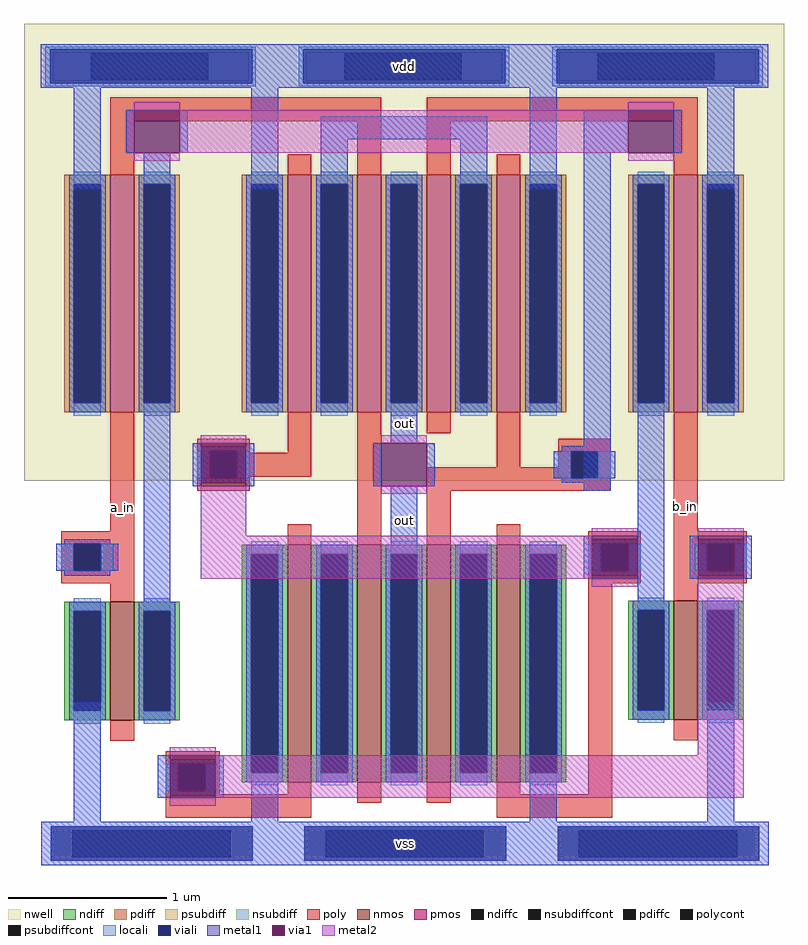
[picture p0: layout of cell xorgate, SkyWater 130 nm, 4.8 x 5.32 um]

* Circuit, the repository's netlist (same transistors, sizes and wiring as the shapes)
* Extracted by KLayout with SG13G2 LVS runset on : 31/03/2026 01:34

.SUBCKT xorgate
M$1 \$1 \$6 \$3 \$1 sg13_lv_nmos L=0.15u W=1.5u AS=0.51p AD=0.285p PS=3.68u
+ PD=1.88u
M$2 \$3 \$7 \$4 \$1 sg13_lv_nmos L=0.15u W=1.5u AS=0.285p AD=0.51p PS=1.88u
+ PD=3.68u
M$3 \$1 \$2 \$5 \$1 sg13_lv_nmos L=0.15u W=1.5u AS=0.51p AD=0.285p PS=3.68u
+ PD=1.88u
M$4 \$5 \$12 \$4 \$1 sg13_lv_nmos L=0.15u W=1.5u AS=0.285p AD=0.51p PS=1.88u
+ PD=3.68u
M$5 \$1 \$2 \$6 \$1 sg13_lv_nmos L=0.15u W=0.75u AS=0.255p AD=0.255p PS=2.18u
+ PD=2.18u
M$6 \$1 \$12 \$7 \$1 sg13_lv_nmos L=0.15u W=0.75u AS=0.255p AD=0.255p PS=2.18u
+ PD=2.18u
M$7 \$16 \$2 \$6 \$16 sg13_lv_pmos L=0.15u W=1.5u AS=0.51p AD=0.51p PS=3.68u
+ PD=3.68u
M$8 \$16 \$12 \$7 \$16 sg13_lv_pmos L=0.15u W=1.5u AS=0.51p AD=0.51p PS=3.68u
+ PD=3.68u
M$9 \$16 \$6 \$13 \$16 sg13_lv_pmos L=0.15u W=1.5u AS=0.51p AD=0.285p PS=3.68u
+ PD=1.88u
M$10 \$13 \$7 \$16 \$16 sg13_lv_pmos L=0.15u W=1.5u AS=0.285p AD=0.51p PS=1.88u
+ PD=3.68u
M$11 \$13 \$2 \$4 \$16 sg13_lv_pmos L=0.15u W=1.5u AS=0.51p AD=0.285p PS=3.68u
+ PD=1.88u
M$12 \$4 \$12 \$13 \$16 sg13_lv_pmos L=0.15u W=1.5u AS=0.285p AD=0.51p PS=1.88u
+ PD=3.68u
.ENDS xorgate

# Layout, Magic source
magic
tech sky130A
magscale 1 2
<< poly >>
rect 109 940 451 970
rect 109 872 139 940
rect 421 872 451 940
rect 509 940 851 970
rect 509 873 539 940
rect 821 872 851 940
rect 109 422 139 572
rect 219 521 285 539
rect 333 521 363 572
rect 219 491 363 521
rect 219 473 285 491
rect 47 356 139 422
rect 421 405 451 572
rect 597 503 627 572
rect 675 503 741 539
rect 509 473 741 503
rect 509 405 539 473
rect 821 422 851 572
rect 109 333 139 356
rect 713 356 779 422
rect 821 356 913 422
rect 179 90 247 144
rect 333 90 363 105
rect 179 60 363 90
rect 597 90 627 105
rect 713 90 743 356
rect 821 334 851 356
rect 597 60 743 90
<< metal1 >>
rect 21 982 940 1037
rect 63 854 97 982
rect 129 900 139 954
rect 197 900 207 954
rect 151 860 185 900
rect 287 854 321 982
rect 375 917 585 946
rect 375 860 409 917
rect 551 860 585 917
rect 639 854 673 982
rect 707 900 763 954
rect 821 900 831 954
rect 151 331 185 578
rect 463 533 497 573
rect 213 479 223 533
rect 281 479 291 533
rect 441 479 451 533
rect 509 479 519 533
rect 463 393 497 479
rect 707 473 741 900
rect 863 854 897 982
rect 707 362 717 416
rect 775 332 809 578
rect 841 362 851 416
rect 909 362 919 416
rect 63 55 97 206
rect 169 85 184 139
rect 242 85 252 139
rect 287 55 321 110
rect 639 55 673 110
rect 863 55 897 206
rect 22 0 941 55
<< via1 >>
rect 139 900 197 954
rect 763 900 821 954
rect 223 479 281 533
rect 451 479 509 533
rect 717 362 775 416
rect 851 362 909 416
rect 184 85 242 139
<< metal2 >>
rect 139 954 197 964
rect 763 954 821 964
rect 197 900 763 954
rect 139 890 197 900
rect 763 890 821 900
rect 223 533 281 543
rect 223 416 281 479
rect 451 533 509 543
rect 451 469 509 479
rect 717 416 775 426
rect 223 362 717 416
rect 717 352 775 362
rect 851 416 909 426
rect 184 139 242 149
rect 851 139 909 362
rect 242 85 909 139
rect 184 75 242 85
use grid  grid_0
transform 1 0 61 0 1 10
box -61 -10 259 1053
use grid  grid_1
transform 1 0 381 0 1 10
box -61 -10 259 1053
use grid  grid_2
transform 1 0 701 0 1 10
box -61 -10 259 1053
use sky130_fd_pr__nfet_01v8_KRUHEH  sky130_fd_pr__nfet_01v8_KRUHEH_0
transform 1 0 124 0 1 258
box -73 -101 73 101
use sky130_fd_pr__nfet_01v8_KRUHEH  sky130_fd_pr__nfet_01v8_KRUHEH_1
transform 1 0 836 0 1 259
box -73 -101 73 101
use sky130_fd_pr__nfet_01v8_VKD229  sky130_fd_pr__nfet_01v8_VKD229_0
transform 1 0 524 0 1 255
box -73 -176 73 176
use sky130_fd_pr__nfet_01v8_VKD229  sky130_fd_pr__nfet_01v8_VKD229_1
transform 1 0 348 0 1 255
box -73 -176 73 176
use sky130_fd_pr__nfet_01v8_VKD229  sky130_fd_pr__nfet_01v8_VKD229_2
transform 1 0 436 0 1 255
box -73 -176 73 176
use sky130_fd_pr__nfet_01v8_VKD229  sky130_fd_pr__nfet_01v8_VKD229_3
transform 1 0 612 0 1 255
box -73 -176 73 176
use sky130_fd_pr__pfet_01v8_MDJ67A  sky130_fd_pr__pfet_01v8_MDJ67A_0
transform 1 0 348 0 1 722
box -109 -212 109 212
use sky130_fd_pr__pfet_01v8_MDJ67A  sky130_fd_pr__pfet_01v8_MDJ67A_1
transform 1 0 436 0 1 722
box -109 -212 109 212
use sky130_fd_pr__pfet_01v8_MDJ67A  sky130_fd_pr__pfet_01v8_MDJ67A_2
transform 1 0 524 0 1 722
box -109 -212 109 212
use sky130_fd_pr__pfet_01v8_MDJ67A  sky130_fd_pr__pfet_01v8_MDJ67A_3
transform 1 0 612 0 1 722
box -109 -212 109 212
use sky130_fd_pr__pfet_01v8_MDJ67A  sky130_fd_pr__pfet_01v8_MDJ67A_4
transform 1 0 124 0 1 722
box -109 -212 109 212
use sky130_fd_pr__pfet_01v8_MDJ67A  sky130_fd_pr__pfet_01v8_MDJ67A_5
transform 1 0 836 0 1 722
box -109 -212 109 212
use viapoly_M1  viapoly_M1_0
transform 1 0 139 0 1 -120
box 34 198 112 264
use viapoly_M1  viapoly_M1_1
transform 1 0 807 0 1 158
box 34 198 112 264
use viapoly_M1  viapoly_M1_2
transform 1 0 673 0 1 158
box 34 198 112 264
use viapoly_M1  viapoly_M1_3
transform -1 0 781 0 -1 737
box 34 198 112 264
use viapoly_M1  viapoly_M1_4
transform 1 0 179 0 1 275
box 34 198 112 264
use viapoly_M1  viapoly_M1_5
transform 1 0 7 0 1 158
box 34 198 112 264
<< labels >>
rlabel poly 109 333 139 572 1 a_in
rlabel space 463 533 497 584 1 out
rlabel metal1 22 0 941 55 1 vss
rlabel metal1 21 982 940 1037 1 vdd
rlabel poly 821 334 851 572 1 b_in
rlabel metal1 463 393 497 479 1 out
<< end >>

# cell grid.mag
magic
tech sky130A
magscale 1 2
<< nwell >>
rect -61 476 259 1053
<< psubdiff >>
rect -24 0 0 34
rect 200 0 224 34
<< nsubdiff >>
rect -25 1016 223 1017
rect -25 982 24 1016
rect 171 982 223 1016
rect -25 981 223 982
<< psubdiffcont >>
rect 0 0 200 34
<< nsubdiffcont >>
rect 24 982 171 1016
<< locali >>
rect -34 1021 232 1024
rect -34 978 -28 1021
rect 227 978 232 1021
rect -34 974 232 978
<< viali >>
rect -28 1016 227 1021
rect -28 982 24 1016
rect 24 982 171 1016
rect 171 982 227 1016
rect -28 978 227 982
rect -27 34 228 39
rect -27 0 0 34
rect 0 0 200 34
rect 200 0 228 34
rect -27 -4 228 0
<< metal1 >>
rect -40 1021 239 1027
rect -40 978 -28 1021
rect 227 978 239 1021
rect -40 972 239 978
rect -39 39 240 45
rect -39 -4 -27 39
rect 228 -4 240 39
rect -39 -10 240 -4
<< end >>

# cell sky130_fd_pr__nfet_01v8_KRUHEH: kit device sky130_fd_pr__nfet_01v8, w 0.75 l 0.150 m 1 nf 1 diffcov 100 polycov 100 guard 0 glc 0 grc 0 gtc 0 gbc 0 tbcov 100 rlcov 100 topc 0 botc 0 poverlap 0 doverlap 0 lmin 0.15 wmin 0.42 class mosfet compatible {sky130_fd_pr__nfet_01v8 sky130_fd_pr__nfet_01v8_lvt sky130_fd_bs_flash__special_sonosfet_star sky130_fd_pr__nfet_g5v0d10v5 sky130_fd_pr__nfet_05v0_nvt sky130_fd_pr__nfet_03v3_nvt} full_metal 0 viasrc 100 viadrn 100 viagate 100 viagb 0 viagr 0 viagl 0 viagt 0

# cell sky130_fd_pr__nfet_01v8_VKD229: kit device sky130_fd_pr__nfet_01v8, w 1.5 l 0.150 m 1 nf 1 diffcov 100 polycov 100 guard 0 glc 0 grc 0 gtc 0 gbc 0 tbcov 100 rlcov 100 topc 0 botc 0 poverlap 0 doverlap 0 lmin 0.15 wmin 0.42 class mosfet compatible {sky130_fd_pr__nfet_01v8 sky130_fd_pr__nfet_01v8_lvt sky130_fd_bs_flash__special_sonosfet_star sky130_fd_pr__nfet_g5v0d10v5 sky130_fd_pr__nfet_05v0_nvt sky130_fd_pr__nfet_03v3_nvt} full_metal 0 viasrc 100 viadrn 100 viagate 100 viagb 0 viagr 0 viagl 0 viagt 0

# cell sky130_fd_pr__pfet_01v8_MDJ67A: kit device sky130_fd_pr__pfet_01v8, w 1.5 l 0.15 m 1 nf 1 diffcov 100 polycov 100 guard 0 glc 0 grc 0 gtc 0 gbc 0 tbcov 100 rlcov 100 topc 0 botc 0 poverlap 0 doverlap 0 lmin 0.15 wmin 0.42 class mosfet compatible {sky130_fd_pr__pfet_01v8 sky130_fd_pr__pfet_01v8_lvt sky130_fd_pr__pfet_01v8_hvt sky130_fd_pr__pfet_g5v0d10v5} full_metal 0 viasrc 100 viadrn 100 viagate 100 viagb 0 viagr 0 viagl 0 viagt 0

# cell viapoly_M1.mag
magic
tech sky130A
magscale 1 2
use sky130_fd_pr__nfet_01v8_3Y5EQC  sky130_fd_pr__nfet_01v8_3Y5EQC_0
transform 1 0 73 0 1 132
box -39 66 39 132
<< end >>

# cell sky130_fd_pr__nfet_01v8_3Y5EQC: kit device sky130_fd_pr__nfet_01v8, w 0.75 l 0.150 m 1 nf 1 diffcov 100 polycov 100 guard 0 glc 0 grc 0 gtc 0 gbc 0 tbcov 100 rlcov 100 topc 1 botc 0 poverlap 0 doverlap 1 lmin 0.15 wmin 0.42 compatible {sky130_fd_pr__nfet_01v8 sky130_fd_pr__nfet_01v8_lvt sky130_fd_bs_flash__special_sonosfet_star sky130_fd_pr__nfet_g5v0d10v5 sky130_fd_pr__nfet_05v0_nvt sky130_fd_pr__nfet_03v3_nvt} full_metal 0 viasrc 100 viadrn 100 viagate 100 viagb 0 viagr 0 viagl 0 viagt 0
